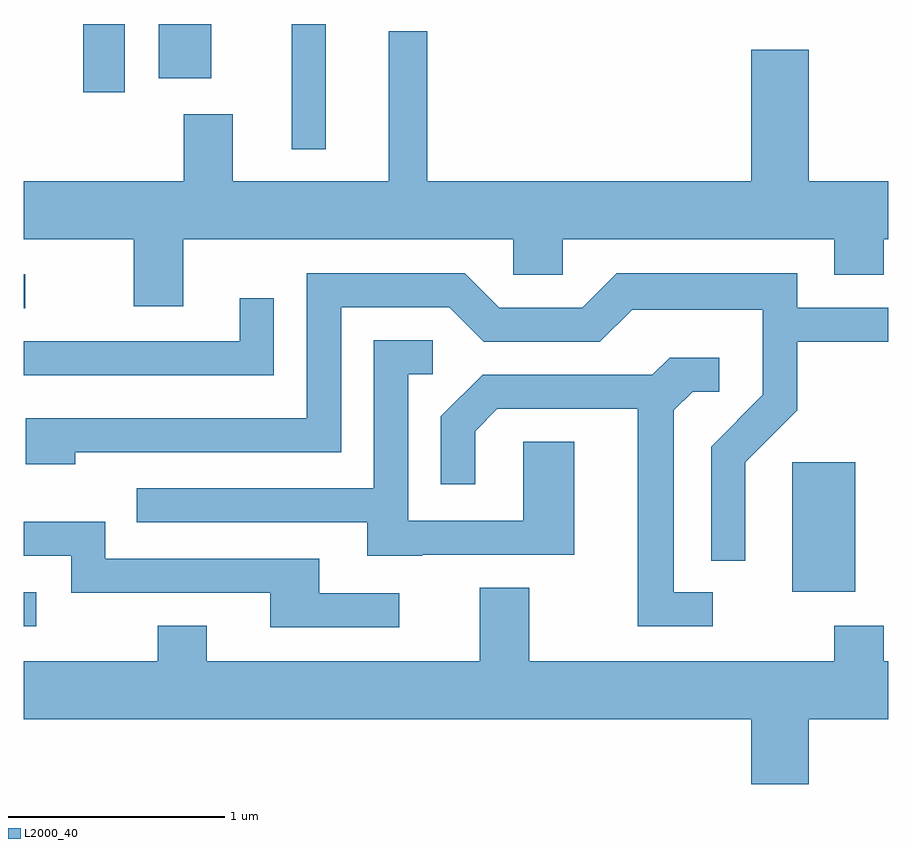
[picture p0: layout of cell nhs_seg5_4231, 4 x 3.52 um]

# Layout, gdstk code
import gdstk
lib = gdstk.Library(unit=1e-6, precision=1e-09)
def R(c, l, rs):  # rectangles x0, y0, x1, y1
    for r in rs: c.add(gdstk.rectangle(r[:2], r[2:], *l))
def P(c, l, *ps):  # polygons
    for p in ps: c.add(gdstk.Polygon(p, *l))
L2000_40 = (2000, 40)

nhs_seg5_4231 = lib.new_cell('nhs_seg5_4231')
R(nhs_seg5_4231, L2000_40, [(311.611,1397.286,311.668,1397.444), (315.166,1397.446,315.459,1398.044), (311.611,1398.756,311.618,1398.914), (312.851,1399.493,313.009,1400.072), (311.886,1399.756,312.079,1400.072), (312.236,1399.821,312.479,1400.072)])
P(nhs_seg5_4231, L2000_40, [(312.349,1399.076),(313.876,1399.076),(313.876,1398.911),(314.104,1398.911),(314.104,1399.076),(315.361,1399.076),(315.361,1398.911),(315.589,1398.911),(315.589,1399.076),(315.611,1399.076),(315.611,1399.344),(315.244,1399.344),(315.244,1399.954),(314.976,1399.954),(314.976,1399.344),(313.479,1399.344),(313.479,1400.039),(313.301,1400.039),(313.301,1399.344),(312.579,1399.344),(312.579,1399.654),(312.351,1399.654),(312.351,1399.344),(311.611,1399.344),(311.611,1399.076),(312.121,1399.076),(312.121,1398.766),(312.349,1398.766)],
  [(314.949,1398.044),(315.189,1398.284),(315.189,1398.601),(315.611,1398.601),(315.611,1398.759),(315.189,1398.759),(315.189,1398.919),(314.354,1398.919),(314.194,1398.759),(313.812,1398.759),(313.652,1398.919),(312.921,1398.919),(312.921,1398.249),(311.621,1398.249),(311.621,1398.036),(311.849,1398.036),(311.849,1398.091),(313.079,1398.091),(313.079,1398.761),(313.579,1398.761),(313.739,1398.601),(314.277,1398.601),(314.427,1398.751),(315.031,1398.751),(315.031,1398.357),(314.791,1398.117),(314.791,1397.588),(314.949,1397.588)],
  [(312.769,1398.803),(312.611,1398.803),(312.611,1398.604),(311.611,1398.604),(311.611,1398.446),(312.769,1398.446)],
  [(313.455,1397.616),(314.159,1397.616),(314.159,1398.139),(313.921,1398.139),(313.921,1397.774),(313.389,1397.774),(313.389,1398.451),(313.503,1398.451),(313.503,1398.609),(313.231,1398.609),(313.231,1397.924),(312.133,1397.924),(312.133,1397.766),(313.201,1397.766),(313.201,1397.611),(313.455,1397.611)],
  [(314.798,1397.444),(314.619,1397.444),(314.619,1398.284),(314.707,1398.371),(314.828,1398.371),(314.828,1398.529),(314.599,1398.529),(314.519,1398.449),(313.734,1398.449),(313.541,1398.257),(313.541,1397.943),(313.699,1397.943),(313.699,1398.189),(313.802,1398.291),(314.451,1398.291),(314.451,1397.286),(314.798,1397.286)],
  [(313.348,1397.439),(312.979,1397.439),(312.979,1397.599),(311.989,1397.599),(311.989,1397.769),(311.611,1397.769),(311.611,1397.611),(311.831,1397.611),(311.831,1397.441),(312.751,1397.441),(312.751,1397.281),(313.348,1397.281)],
  [(315.244,1396.856),(315.611,1396.856),(315.611,1397.124),(315.589,1397.124),(315.589,1397.289),(315.361,1397.289),(315.361,1397.124),(313.949,1397.124),(313.949,1397.464),(313.721,1397.464),(313.721,1397.124),(312.459,1397.124),(312.459,1397.289),(312.231,1397.289),(312.231,1397.124),(311.611,1397.124),(311.611,1396.856),(314.976,1396.856),(314.976,1396.556),(315.244,1396.556)])

lib.write_gds('nhs_seg5_4231.gds')
